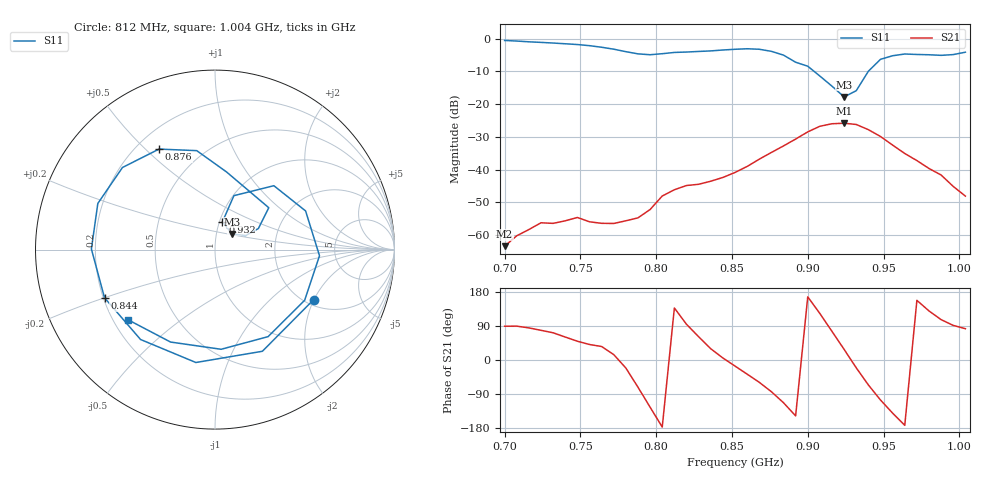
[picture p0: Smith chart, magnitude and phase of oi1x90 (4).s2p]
# Hz S RI R 50
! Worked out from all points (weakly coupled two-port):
!   39 points, 700 MHz to 1.004 GHz, reference 50 ohm
!   highest |S21| = -25.82 dB at 924 MHz (marker M1); lowest = -63.4 dB at 700 MHz (marker M2)
!   lowest |S11| = -17.8 dB at 924 MHz (marker M3), VSWR 1.30, Z = 59.6 + j10.5 ohm
!   |S11| at or under -10 dB: 904.2 MHz to 939.9 MHz (35.69 MHz wide, 3.87 % of centre)
!   S12 and S22 are empty: the file has one direction only
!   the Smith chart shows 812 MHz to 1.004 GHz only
!   S11 on the Smith chart (normalised r, x): 812 MHz: 2.21, -1.99; 844 MHz: 0.20, -0.20; 876 MHz: 0.29, +0.55; 932 MHz: 1.03, +0.33; 1.004 GHz: 0.26, -0.33
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7e8  0.7559 0.5573  1.05e-05 0.000679  0 0  0 0
7.24e8  0.8436 -0.2411  0.000312 0.00151  0 0  0 0
7.4e8  0.4581 -0.6991  0.000813 0.00144  0 0  0 0
7.56e8  -0.1881 -0.7589  0.00121 0.00105  0 0  0 0
7.72e8  -0.6611 -0.2011  0.00146 0.000371  0 0  0 0
7.8e8  -0.5938 0.22  0.00155 -0.000601  0 0  0 0
7.88e8  -0.2493 0.5304  0.000573 -0.00175  0 0  0 0
7.96e8  0.2359 0.5173  -0.0014 -0.00203  0 0  0 0
8.04e8  0.5638 0.1726  -0.00395 -0.000209  0 0  0 0
8.12e8  0.5498 -0.2786  -0.00363 0.00335  0 0  0 0
8.28e8  -0.1066 -0.629  0.00286 0.00525  0 0  0 0
8.44e8  -0.6156 -0.2685  0.00757 0.000704  0 0  0 0
8.52e8  -0.6886 0.00353  0.00871 -0.0025  0 0  0 0
8.76e8  -0.3119 0.56  0.00202 -0.0182  0 0  0 0
9e8  0.2996 0.2333  -0.0368 0.0087  0 0  0 0
9.08e8  0.2417 0.1173  -0.0248 0.0388  0 0  0 0
9.24e8  0.0958 0.0864  0.0452 0.024  0 0  0 0
9.32e8  0.0416 0.1551  0.0458 -0.0173  0 0  0 0
9.48e8  0.328 0.356  -0.00863 -0.0309  0 0  0 0
9.56e8  0.5048 0.2154  -0.0182 -0.0152  0 0  0 0
9.8e8  0.2958 -0.4849  -0.00662 0.00805  0 0  0 0
1.004e9  -0.4825 -0.392  0.000507 0.00391  0 0  0 0
